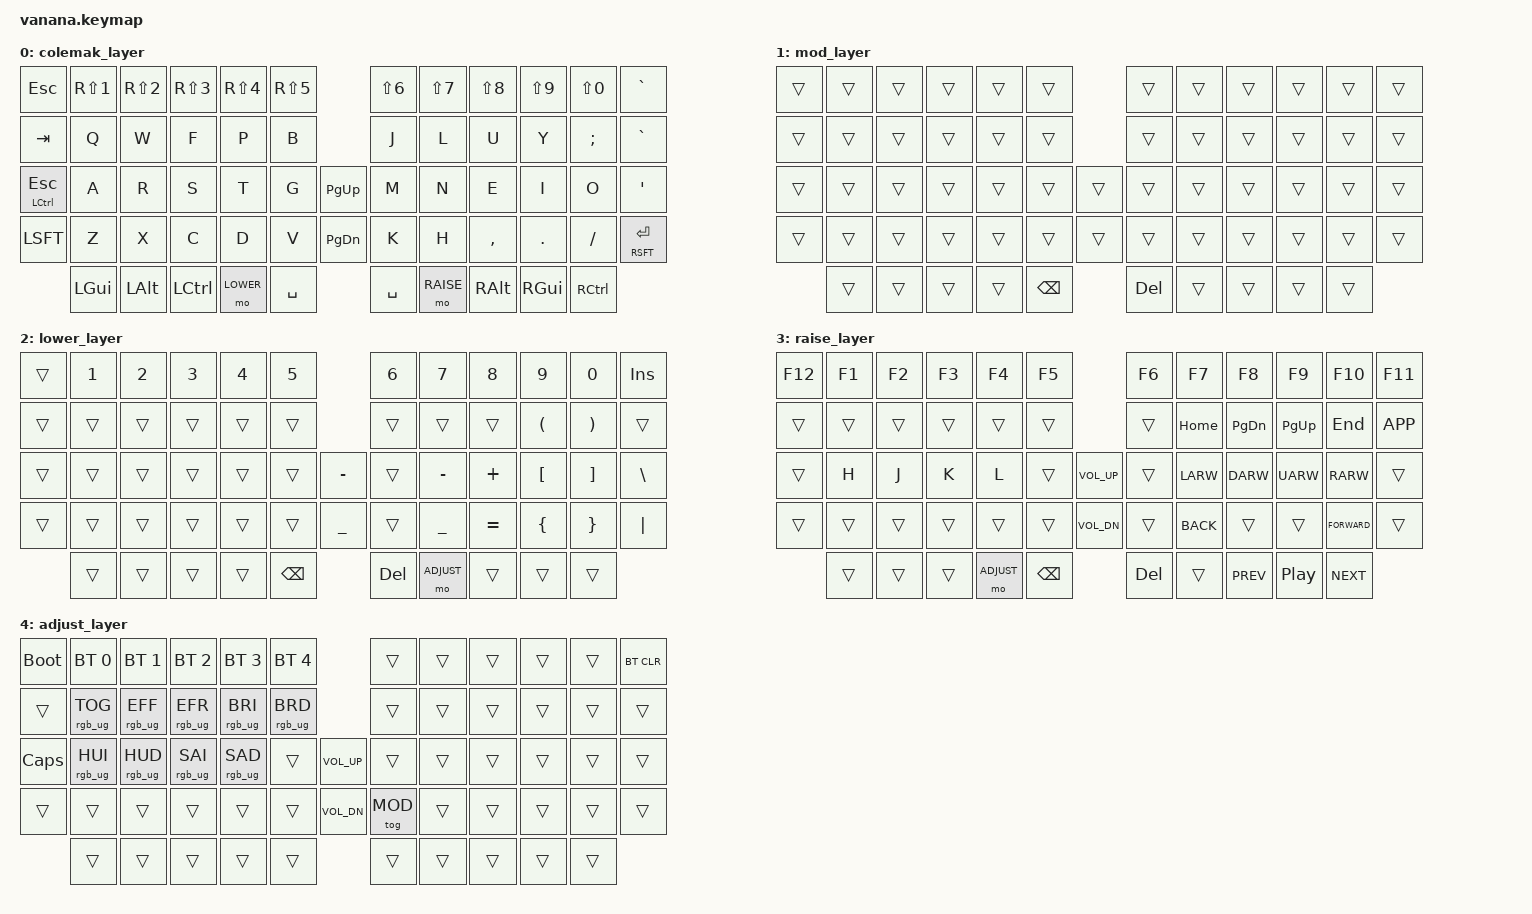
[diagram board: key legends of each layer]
/*
 * Copyright (c) 2020 dELLIKEEb
 *
 * SPDX-License-Identifier: MIT
 */

#include <behaviors.dtsi>
#include <dt-bindings/zmk/keys.h>
#include <dt-bindings/zmk/bt.h>
#include <dt-bindings/zmk/rgb.h>

// custom keycode defs for easier access
#define COLEMAK 0
#define MOD     1
//#define MAC     2
#define LOWER   2
#define RAISE   3
#define ADJUST  4

// / {
//     behaviors {
//         hm: homerow_mods {
//             compatible = "zmk,behavior-hold-tap";
//             label = "homerow mods";
//             #binding-cells = <2>;
//             tapping_term_ms = <225>;
//             flavor = "tap-preferred";
//             bindings = <&kp>, <&kp>;
//         };
//     };
// };

// -------------------------------------------               -------------------------------------------
// |      |      |      |      |      |      |               |      |      |      |      |      |      |
// -------------------------------------------               -------------------------------------------
// |      |      |      |      |      |      |               |      |      |      |      |      |      |
// -------------------------------------------   ---------  --------------------------------------------
// |      |      |      |      |      |      |   |       |   |      |      |      |   I  |      |      |
// -------------------------------------------   ---------   -------------------------------------------
// |      |      |      |      |      |      |   |       |   |      |      |      |      |      |      |
// -------------------------------------------   ---------   -------------------------------------------
//        |      |      |      |      |      |               |      |      |      |      |      |
//        ------------------------------------               ------------------------------------

// BASE colemak-DHm
// -------------------------------------------               -------------------------------------------
// |      |   !  |   @  |   #  |   $  |   %  |               |   ^  |   &  |   *  |   (  |   )  |      |
// -------------------------------------------               -------------------------------------------
// | Tab  |   Q  |   W  |   F  |   P  |   B  |               |   J  |   L  |   U  |   Y  |   ;  |  `   |
// -------------------------------------------   ---------  --------------------------------------------
// |Ctr/Es|   A  |   R  |   S  |   T  |   G  |   | PGup  |   |   M  |   N  |   E  |   I  |   O  |  "   |
// -------------------------------------------   ---------   -------------------------------------------
// | Shift|   Z  |   X  |   C  |   D  |   V  |   | PGdwn |   |   K  |   H  |   ,  |   .  |   /  |Ent/Sh|
// -------------------------------------------   ---------   -------------------------------------------
//        | Ctrl | GUI  |  Alt |Lower |Space |               |Space |Raise |RAlt  | RGUI | RCtl |
//        ------------------------------------               ------------------------------------
//

/ {
    keymap {
        compatible = "zmk,keymap";

        colemak_layer {
            bindings = <
                &kp ESC       &kp RS(N1)  &kp RS(N2)  &kp RS(N3)  &kp RS(N4) &kp RS(N5)                &kp LS(N6)  &kp LS(N7)  &kp LS(N8)  &kp LS(N9)  &kp LS(N0)  &kp GRAV
                &kp TAB       &kp Q       &kp W       &kp F       &kp P      &kp B                     &kp J       &kp L       &kp U       &kp Y       &kp SCLN    &kp GRAV
                &mt LCTL ESC &kp A       &kp R       &kp S       &kp T      &kp G         &kp PG_UP   &kp M       &kp N       &kp E       &kp I       &kp O       &kp SQT
                &kp LSFT      &kp Z       &kp X       &kp C       &kp D      &kp V         &kp PG_DN   &kp K       &kp H       &kp CMMA    &kp DOT     &kp FSLH    &mt RSFT RET
                              &kp LGUI    &kp LALT    &kp LCTL    &mo LOWER  &kp SPC                   &kp SPC     &mo RAISE   &kp RALT    &kp RGUI    &kp RCTL
            >;
        };

//        default_layer {
//            bindings = <
//                &kp GRAV    &kp N1      &kp N2      &kp N3      &kp N4    &kp N5                    &kp N6      &kp N7      &kp N8      &kp N9      &kp N0      &kp BKSP
//                &kp TAB     &kp Q       &kp W       &kp E       &kp R     &kp T                     &kp Y       &kp U       &kp I       &kp O       &kp P       &kp BSLH
//                &kp ESC     &kp A       &kp S       &kp D       &kp F     &kp G         &kp RARW    &kp H       &kp J       &kp K       &kp L       &kp SCLN    &kp RET
//                &kp LSFT    &kp Z       &kp X       &kp C       &kp V     &kp B         &kp LARW    &kp N       &kp M       &kp CMMA    &kp DOT     &kp FSLH    &mt RSFT SQT
//                            &kp LGUI    &kp LALT    &kp LCTL    &mo LOWER &kp SPC                   &kp SPC     &mo RAISE   &kp RALT    &kp DARW    &kp UARW
//            >;
//            sensor-bindings = <&inc_dec_kp C_VOL_DN C_VOL_UP &inc_dec_kp LEFT RIGHT>;
//        };

        mod_layer {
            bindings = <
                &trans      &trans      &trans      &trans      &trans      &trans                  &trans      &trans      &trans      &trans      &trans      &trans
                &trans      &trans      &trans      &trans      &trans      &trans                  &trans      &trans      &trans      &trans      &trans      &trans
                &trans      &trans      &trans      &trans      &trans      &trans      &trans      &trans      &trans      &trans      &trans      &trans      &trans
                &trans      &trans      &trans      &trans      &trans      &trans      &trans      &trans      &trans      &trans      &trans      &trans      &trans
                            &trans      &trans      &trans      &trans      &kp BSPC                &kp DEL     &trans      &trans      &trans      &trans
            >;
        };

//        mac_layer {
//            bindings = <
//                &trans      &trans      &trans      &trans      &trans      &trans                  &trans      &trans      &trans      &trans      &trans      &trans
//                &trans      &trans      &trans      &trans      &trans      &trans                  &trans      &trans      &trans      &trans      &trans      &trans
//                &trans      &trans      &trans      &trans      &trans      &trans      &trans      &trans      &trans      &trans      &trans      &trans      &trans
//                &trans      &trans      &trans      &trans      &trans      &trans      &trans      &trans      &trans      &trans      &trans      &trans      &trans
//                            &kp LCTL    &kp LALT    &kp LGUI    &trans      &trans                  &trans      &trans      &kp RGUI    &trans      &trans
//            >;
//            sensor-bindings = <&inc_dec_kp C_VOL_DN C_VOL_UP &inc_dec_kp LEFT RIGHT>;
//        };

// Lower layer 
// -------------------------------------------               -------------------------------------------
// |      |  1   |  2   |  3   |  4   |  5   |               |  6   |  7   |  8   |  9   |  0   | INS  |
// -------------------------------------------               -------------------------------------------
// |      |      |      |      |      |      |               |      |      |      |      |      |      |
// -------------------------------------------   ---------  --------------------------------------------
// |      |      |      |      |      |      |   |       |   |      |  -   |  +   |  [   |  ]   |  \   |
// -------------------------------------------   ---------   -------------------------------------------
// |      |      |      |      |      |      |   |       |   |      |  _   |  =   |  {   |  }   |  |   |
// -------------------------------------------   ---------   -------------------------------------------
//        |      |      |      |      |  x   |               |      |      |      |      |      |
//        ------------------------------------               ------------------------------------
//
        lower_layer {
            bindings = <
                &trans      &kp N1      &kp N2      &kp N3      &kp N4      &kp N5                  &kp N6      &kp N7      &kp N8      &kp N9      &kp N0      &kp INS
                &trans      &trans      &trans      &trans      &trans      &trans                  &trans      &trans      &trans      &kp LPAR    &kp RPAR    &trans
                &trans      &trans      &trans      &trans      &trans      &trans     &kp MINUS    &trans      &kp MINUS   &kp PLUS    &kp LBKT    &kp RBKT    &kp BSLH
                &trans      &trans      &trans      &trans      &trans      &trans     &kp UNDER    &trans      &kp UNDER   &kp EQUAL   &kp LBRC    &kp RBRC    &kp PIPE
                            &trans      &trans      &trans      &trans      &kp BSPC                &kp DEL     &mo ADJUST  &trans      &trans      &trans
            >;
        };

// Raise layer
// -------------------------------------------               -------------------------------------------
// | F12  |  F1  |  F2  |  F3  |  F4  |  F5  |               |  F6  |  F7  |  F8  |  F9  | F10  |  F11 |
// -------------------------------------------               -------------------------------------------
// |      |      |      |      |      |      |               |      | home | pgup | pgup | end  |  app |
// -------------------------------------------   ---------  --------------------------------------------
// |      |   h  |  j   |  k   |  l   |      |   |       |   |      | left | down |  up  | right|      |
// -------------------------------------------   ---------   -------------------------------------------
// |      |      |      |      |      |      |   |       |   |      | back |      |      | frwrd|      |
// -------------------------------------------   ---------   -------------------------------------------
//        |      |      |      |      |L(ADJ)|               |  X   |      |      |  PP  |      |
//        ------------------------------------               ------------------------------------
//
        raise_layer {
            bindings = <
                &kp F12     &kp F1      &kp F2      &kp F3      &kp F4      &kp F5                      &kp F6      &kp F7      &kp F8      &kp F9      &kp F10       &kp F11
                &trans      &trans      &trans      &trans      &trans      &trans                      &trans      &kp HOME    &kp PG_DN   &kp PG_UP   &kp END       &kp K_APP
                &trans      &kp H       &kp J       &kp K       &kp L       &trans      &kp C_VOL_UP    &trans      &kp LARW    &kp DARW    &kp UARW    &kp RARW      &trans
                &trans      &trans      &trans      &trans      &trans      &trans      &kp C_VOL_DN    &trans      &kp K_BACK  &trans      &trans      &kp K_FORWARD &trans
                            &trans      &trans      &trans      &mo ADJUST  &kp BSPC                    &kp DEL     &trans      &kp C_PREV  &kp C_PP    &kp C_NEXT
            >;

        };

// Adjust layer
// -------------------------------------------               -------------------------------------------
// | boot | bt0  | bt1  | bt2  | bt3  | bt4  |               |      |      |      |      |      | btclr|
// -------------------------------------------               -------------------------------------------
// |      |      |      |      |      |      |               |      |      |      |      |      |      |
// -------------------------------------------   ---------  --------------------------------------------
// |      |      |      |      |      |      |   |       |   |      |      |   I  |      |      |      |
// -------------------------------------------   ---------   -------------------------------------------
// |      |      |      |      |      |      |   |       |   |      |      |      |      |      |      |
// -------------------------------------------   ---------   -------------------------------------------
//        |      |      |      |      |      |               |      |      |      |      |      |
//        ------------------------------------               ------------------------------------
//
        adjust_layer {
            bindings = <
                &bootloader &bt BT_SEL 0    &bt BT_SEL 1    &bt BT_SEL 2    &bt BT_SEL 3    &bt BT_SEL 4                    &trans      &trans      &trans      &trans      &trans      &bt BT_CLR
                &trans      &rgb_ug RGB_TOG &rgb_ug RGB_EFF &rgb_ug RGB_EFR &rgb_ug RGB_BRI &rgb_ug RGB_BRD                 &trans      &trans      &trans      &trans      &trans      &trans
                &kp CAPS    &rgb_ug RGB_HUI &rgb_ug RGB_HUD &rgb_ug RGB_SAI &rgb_ug RGB_SAD &trans          &kp C_VOL_UP    &trans      &trans      &trans      &trans      &trans      &trans
                &trans      &trans          &trans          &trans          &trans          &trans          &kp C_VOL_DN    &tog MOD    &trans      &trans      &trans      &trans      &trans
                            &trans          &trans          &trans          &trans          &trans                          &trans      &trans      &trans      &trans      &trans
            >;
        };

    };
};
